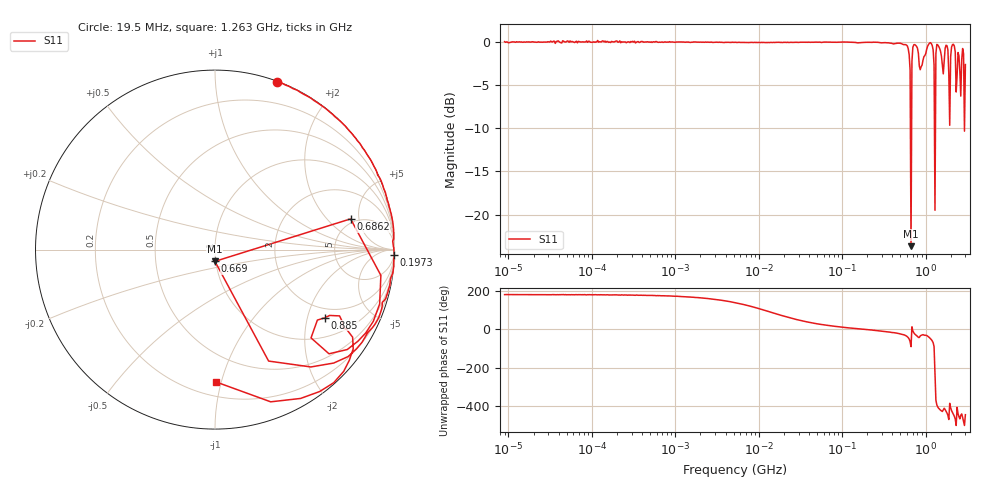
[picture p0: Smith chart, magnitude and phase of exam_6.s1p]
#  HZ  S  RI  R  50.0
! Rohde & Schwarz ZVL
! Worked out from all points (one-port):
!   501 points, 9 kHz to 3 GHz, reference 50 ohm
!   lowest |S11| = -23.7 dB at 669 MHz (marker M1), VSWR 1.14, Z = 49.5 - j6.52 ohm
!   |S11| at or under -10 dB: 657.8 MHz to 680 MHz (22.22 MHz wide, 3.32 % of centre); 1.278 GHz to 1.313 GHz (35.8 MHz wide, 2.76 % of centre); 2.922029 GHz to 2.927808 GHz (5.778 MHz wide, 0.198 % of centre)
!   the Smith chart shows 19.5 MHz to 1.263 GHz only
!   S11 on the Smith chart (normalised r, x): 19.5 MHz: 0.01, +1.44; 197.3 MHz: 5, -69; 669 MHz: 0.99, -0.13; 686.2 MHz: 4.49, +3.84; 885 MHz: 1.64, -2.59; 1.263 GHz: 0.30, -0.96
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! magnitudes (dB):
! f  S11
! 9 kHz  0.1
! 44.68 kHz  0.2
! 216.3 kHz  0.2
! 1.074 MHz  0.0
! 5.196 MHz  0.0
! 19.5 MHz  0.0
! 25.8 MHz  0.0
! 124.9 MHz  0.0
! 197.3 MHz  0.0
! 619.8 MHz  -0.8
! 635.8 MHz  -1.5
! 669 MHz  -23.7
! 686.2 MHz  -2.2
! 703.9 MHz  -0.6
! 722 MHz  -0.3
! 740.6 MHz  -0.3
! 885 MHz  -2.8
! 1.171 GHz  -0.2
! 1.263 GHz  -2.7
! 1.364 GHz  -0.3
! 1.399 GHz  -0.3
! 1.435 GHz  -0.5
! 1.588 GHz  -2.6
! 1.759 GHz  -0.4
! 1.947 GHz  -9.6
! 2.155 GHz  -0.2
! 2.448 GHz  -1.2
! 3 GHz  -2.6
